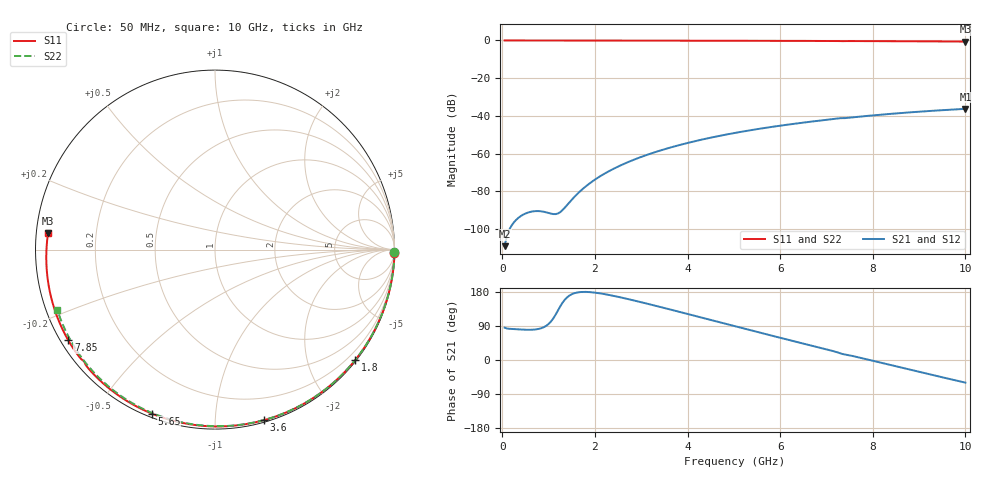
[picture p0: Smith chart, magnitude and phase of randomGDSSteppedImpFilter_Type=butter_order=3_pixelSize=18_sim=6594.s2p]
! freq	dB(S11)	phase(S11)	dB(S12)	phase(S12)
!  dB(S21)	phase(S21)	dB(S22)	phase(S22)
!S-par simulation data
#  GHz  S  DB  R 50
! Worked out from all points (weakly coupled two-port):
!   200 points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, 50 MHz to 10 GHz, reference 50 ohm
!   highest |S21| = -36.30 dB at 10 GHz (marker M1); lowest = -109.2 dB at 50 MHz (marker M2)
!   lowest |S11| = -0.6 dB at 10 GHz (marker M3), VSWR 29.59, Z = 1.69 + j2.45 ohm
!   |S11| at or under -10 dB: nowhere
!   |S22| runs from -0.5 to 0.0 dB; largest |S21 - S12| = 0
!   S11 on the Smith chart (normalised r, x): 50 MHz: open; 1.8 GHz: 0.03, -2.88; 3.6 GHz: 0.02, -1.33; 5.65 GHz: 0.02, -0.69; 7.85 GHz: 0.02, -0.28; 10 GHz: 0.03, +0.05
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0.05  -0.00 -1.1  -109.15 85.4  -109.15 85.4  -0.00 -0.9
0.4  -0.01 -8.7  -93.17 80.5  -93.17 80.5  -0.01 -7.4
0.8  -0.02 -17.3  -90.57 82.4  -90.57 82.4  -0.02 -14.7
1.2  -0.03 -25.7  -91.82 130.3  -91.82 130.3  -0.03 -21.9
1.65  -0.04 -35.2  -80.71 178.8  -80.71 178.8  -0.04 -30.0
1.7  -0.05 -36.2  -79.57 179.4  -79.57 179.4  -0.04 -30.8
1.75  -0.05 -37.2  -78.50 179.7  -78.50 179.7  -0.04 -31.7
1.8  -0.05 -38.3  -77.48 179.7  -77.48 179.7  -0.04 -32.6
2.1  -0.06 -44.4  -72.25 176.1  -72.25 176.1  -0.05 -37.9
2.45  -0.07 -51.5  -67.51 168.0  -67.51 168.0  -0.06 -44.0
2.9  -0.08 -60.5  -62.72 155.4  -62.72 155.4  -0.07 -51.7
3.4  -0.09 -70.2  -58.48 140.3  -58.48 140.3  -0.08 -60.1
3.6  -0.10 -74.0  -57.02 134.1  -57.02 134.1  -0.09 -63.5
4.3  -0.12 -87.1  -52.65 112.1  -52.65 112.1  -0.11 -74.9
5.05  -0.15 -100.6  -48.94 88.4  -48.94 88.4  -0.13 -86.7
5.65  -0.18 -111.1  -46.49 69.5  -46.49 69.5  -0.16 -95.9
6.7  -0.25 -129.1  -42.98 37.1  -42.98 37.1  -0.22 -111.4
7.25  -0.32 -138.5  -41.33 19.7  -41.33 19.7  -0.26 -119.4
7.85  -0.34 -148.3  -40.11 2.4  -40.11 2.4  -0.30 -128.0
8.35  -0.39 -156.7  -39.02 -12.3  -39.02 -12.3  -0.35 -135.2
9.2  -0.49 -171.3  -37.46 -37.0  -37.46 -37.0  -0.44 -147.3
10  -0.59 174.4  -36.30 -59.7  -36.30 -59.7  -0.53 -158.9
